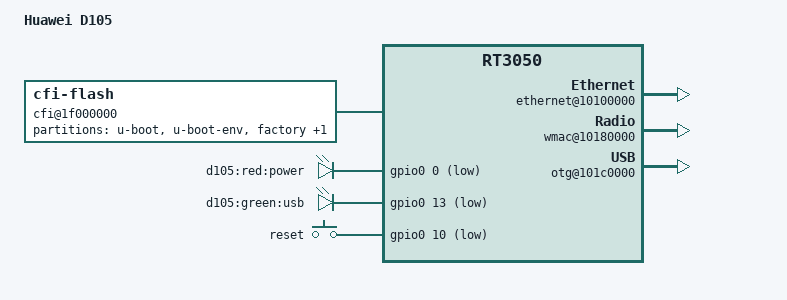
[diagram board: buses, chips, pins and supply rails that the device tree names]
/dts-v1/;

/include/ "rt3050.dtsi"

/ {
	compatible = "D105", "ralink,rt3050-soc";
	model = "Huawei D105";

	palmbus@10000000 {
		sysc@0 {
			ralink,pinmux = "i2c", "spi", "uartlite", "mdio", "sdram", "rgmii";
			ralink,gpiomux = "jtag";
			ralink,uartmux = "gpio";
			ralink,wdtmux = <1>;
		};

		gpio0: gpio@600 {
			status = "okay";
		};

	};

	cfi@1f000000 {
		compatible = "cfi-flash";
		reg = <0x1f000000 0x800000>;

		bank-width = <2>;
		device-width = <2>;
		#address-cells = <1>;
		#size-cells = <1>;

		partition@0 {
			label = "u-boot";
			reg = <0x0 0x30000>;
			read-only;
		};

		partition@30000 {
			label = "u-boot-env";
			reg = <0x30000 0x10000>;
			read-only;
		};

		factory: partition@40000 {
			label = "factory";
			reg = <0x40000 0x10000>;
			read-only;
		};

		partition@50000 {
			label = "firmware";
			reg = <0x50000 0x3b0000>;
		};
	};

	gpio-leds {
		compatible = "gpio-leds";
		power {
			label = "d105:red:power";
			gpios = <&gpio0 0 1>;
		};
		wps {
			label = "d105:green:usb";
			gpios = <&gpio0 13 1>;
		};
	};

	gpio-keys-polled {
		compatible = "gpio-keys-polled";
		#address-cells = <1>;
		#size-cells = <0>;
		poll-interval = <20>;
		reset {
			label = "reset";
			gpios = <&gpio0 10 1>;
			linux,code = <0x198>;
		};
	};

	ethernet@10100000 {
		status = "okay";
	};

	esw@10110000 {
		status = "okay";
		ralink,portmap = <0x2f>;
	};

	wmac@10180000 {
		status = "okay";
	};

	otg@101c0000 {
		status = "okay";
	};
};
